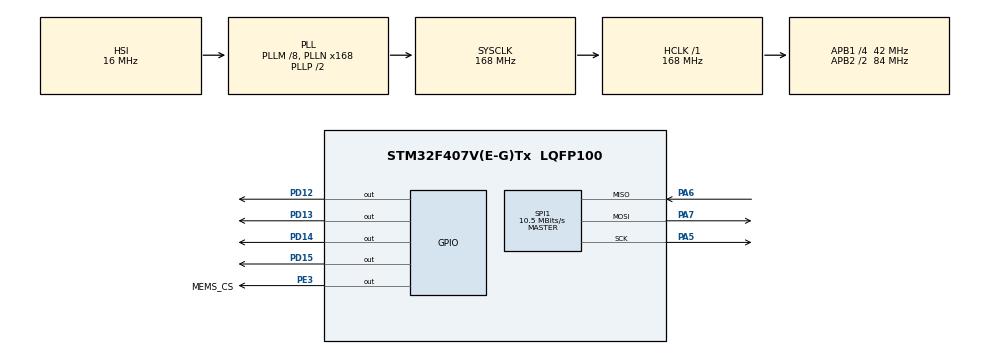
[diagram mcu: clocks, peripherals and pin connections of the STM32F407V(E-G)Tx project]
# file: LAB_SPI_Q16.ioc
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Dma.Request0=SPI1_RX
Dma.Request1=SPI1_TX
Dma.SPI1_RX.0.Direction=DMA_PERIPH_TO_MEMORY
Dma.SPI1_RX.0.FIFOMode=DMA_FIFOMODE_DISABLE
Dma.SPI1_RX.0.Instance=DMA2_Stream0
Dma.SPI1_RX.0.MemDataAlignment=DMA_MDATAALIGN_BYTE
Dma.SPI1_RX.0.MemInc=DMA_MINC_ENABLE
Dma.SPI1_RX.0.Mode=DMA_NORMAL
Dma.SPI1_RX.0.PeriphDataAlignment=DMA_PDATAALIGN_BYTE
Dma.SPI1_RX.0.PeriphInc=DMA_PINC_DISABLE
Dma.SPI1_RX.0.Priority=DMA_PRIORITY_LOW
Dma.SPI1_TX.1.Direction=DMA_MEMORY_TO_PERIPH
Dma.SPI1_TX.1.FIFOMode=DMA_FIFOMODE_DISABLE
Dma.SPI1_TX.1.Instance=DMA2_Stream3
Dma.SPI1_TX.1.MemDataAlignment=DMA_MDATAALIGN_BYTE
Dma.SPI1_TX.1.MemInc=DMA_MINC_ENABLE
Dma.SPI1_TX.1.Mode=DMA_NORMAL
Dma.SPI1_TX.1.PeriphDataAlignment=DMA_PDATAALIGN_BYTE
Dma.SPI1_TX.1.PeriphInc=DMA_PINC_DISABLE
Dma.SPI1_TX.1.Priority=DMA_PRIORITY_LOW
Mcu.Family=STM32F4
Mcu.Name=STM32F407V(E-G)Tx
Mcu.Package=LQFP100
NVIC.DMA2_Stream0_IRQn=true\:0\:0\:false\:false\:true\:false\:true\:true
NVIC.DMA2_Stream3_IRQn=true\:0\:0\:false\:false\:true\:false\:true\:true
NVIC.PriorityGroup=NVIC_PRIORITYGROUP_4
NVIC.SPI1_IRQn=true\:0\:0\:false\:false\:true\:true\:true\:true
PA5.Mode=Full_Duplex_Master
PA5.Signal=SPI1_SCK
PA6.Mode=Full_Duplex_Master
PA6.Signal=SPI1_MISO
PA7.Mode=Full_Duplex_Master
PA7.Signal=SPI1_MOSI
PD12.Signal=GPIO_Output
PD13.Signal=GPIO_Output
PD14.Signal=GPIO_Output
PD15.Signal=GPIO_Output
PE3.GPIO_Label=MEMS_CS
PE3.GPIO_Speed=GPIO_SPEED_FREQ_HIGH
PE3.PinState=GPIO_PIN_SET
PE3.Signal=GPIO_Output
PH0-OSC_IN.Mode=HSE-External-Oscillator
PH0-OSC_IN.Signal=RCC_OSC_IN
PH1-OSC_OUT.Mode=HSE-External-Oscillator
PH1-OSC_OUT.Signal=RCC_OSC_OUT
ProjectManager.HeapSize=0x200
ProjectManager.StackSize=0x400
ProjectManager.TargetToolchain=STM32CubeIDE
RCC.48MHZClocksFreq_Value=84000000
RCC.AHBFreq_Value=168000000
RCC.APB1CLKDivider=RCC_HCLK_DIV4
RCC.APB1Freq_Value=42000000
RCC.APB1TimFreq_Value=84000000
RCC.APB2CLKDivider=RCC_HCLK_DIV2
RCC.APB2Freq_Value=84000000
RCC.APB2TimFreq_Value=168000000
RCC.CortexFreq_Value=168000000
RCC.HCLKFreq_Value=168000000
RCC.HSE_VALUE=8000000
RCC.HSI_VALUE=16000000
RCC.LSE_VALUE=32768
RCC.PLLM=8
RCC.PLLN=168
RCC.SYSCLKFreq_VALUE=168000000
RCC.SYSCLKSource=RCC_SYSCLKSOURCE_PLLCLK
RCC.VCOOutputFreq_Value=336000000
SPI1.BaudRatePrescaler=SPI_BAUDRATEPRESCALER_8
SPI1.CLKPhase=SPI_PHASE_1EDGE
SPI1.CLKPolarity=SPI_POLARITY_LOW
SPI1.CRCCalculation=SPI_CRCCALCULATION_DISABLE
SPI1.CalculateBaudRate=10.5 MBits/s
SPI1.Direction=SPI_DIRECTION_2LINES
SPI1.Mode=SPI_MODE_MASTER
SPI1.VirtualType=VM_MASTER
board=custom

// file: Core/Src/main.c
/* USER CODE BEGIN Header */
/**
  ******************************************************************************
  * @file           : main.c
  * @brief          : Main program body
  ******************************************************************************
  * @attention
  *
  * Copyright (c) 2026 STMicroelectronics.
  * All rights reserved.
  *
  * This software is licensed under terms that can be found in the LICENSE file
  * in the root directory of this software component.
  * If no LICENSE file comes with this software, it is provided AS-IS.
  *
  ******************************************************************************
  */
/* USER CODE END Header */
#include "main.h"

SPI_HandleTypeDef hspi1;
DMA_HandleTypeDef hdma_spi1_rx;
DMA_HandleTypeDef hdma_spi1_tx;

/* USER CODE BEGIN PV */
uint8_t ReadFlag=0x80;
uint8_t Return[6];
int16_t Rx_x,Rx_y,Rx_z;
uint8_t TxBuf[2];
/* USER CODE END PV */

void SystemClock_Config(void);
static void MX_GPIO_Init(void);
static void MX_DMA_Init(void);
static void MX_SPI1_Init(void);

int main(void)
{

  /* MCU Configuration--------------------------------------------------------*/

  /* Reset of all peripherals, Initializes the Flash interface and the Systick. */
  HAL_Init();

  /* Configure the system clock */
  SystemClock_Config();

  /* Initialize all configured peripherals */
  MX_GPIO_Init();
  MX_DMA_Init();
  MX_SPI1_Init();
  /* USER CODE BEGIN 2 */
  //WHO_AM_I Address 0x0f
  HAL_GPIO_WritePin(GPIOE, GPIO_PIN_3, RESET);//CS Pin Low (start data receive on slave)
  TxBuf[0] = 0x0f|ReadFlag;//Read Address of Register
  HAL_SPI_Transmit(&hspi1, TxBuf, 1, 50); // transmit the buffer we created
  HAL_SPI_Receive(&hspi1, Return, 1, 50); // store the value we got in the receive array
  HAL_GPIO_WritePin(GPIOE, GPIO_PIN_3, SET);//CS Pin High (stop data receive on slave)

  //CTRL_REG6 with Address 0x25
     HAL_GPIO_WritePin(GPIOE, GPIO_PIN_3, RESET);//CS Pin Low (start data receive on slave)
     TxBuf[0]=0x25;//Address of Register
     TxBuf[1]=0x11;//Enable Automatic register increment so that we can read high and low both values of each axis by accessing the first one
     HAL_SPI_Transmit(&hspi1, TxBuf, 2, 50); // transmit the buffer we created
     HAL_GPIO_WritePin(GPIOE, GPIO_PIN_3, SET);//CS Pin High (stop data receive on slave)

  //CTRL_REG4 with Address 0x20
   HAL_GPIO_WritePin(GPIOE, GPIO_PIN_3, RESET);//CS Pin Low (start data receive on slave)
   TxBuf[0]=0x20;//Address of Register
   TxBuf[1]=0x37;// 12.5Hz + enable all axis
   HAL_SPI_Transmit(&hspi1, TxBuf, 2, 50); // transmit the buffer we created
   HAL_GPIO_WritePin(GPIOE, GPIO_PIN_3, SET);//CS Pin High (stop data receive on slave)

//  //Configure Control Register 3 with Address 0x20
//  HAL_GPIO_WritePin(GPIOE, GPIO_PIN_3, RESET);//CS Pin Low
//  TxBuf[0]=0x23;//Address of Register
//  TxBuf[1]=0xC8;//Data for Register
//  HAL_SPI_Transmit(&hspi1, TxBuf, 2, 50);
//  HAL_GPIO_WritePin(GPIOE, GPIO_PIN_3, SET);//CS Pin High

  /* USER CODE END 2 */

  /* Infinite loop */
  /* USER CODE BEGIN WHILE */
  while (1)
  {

	  HAL_GPIO_WritePin(GPIOE, GPIO_PIN_3, RESET);
	  // Start reading from OUT_X_L (0x28). 0x80 is the Read bit.
	  TxBuf[0] = 0x28 | 0x80;
	  HAL_SPI_Transmit(&hspi1, TxBuf, 1, 50);
	  // Read 6 bytes: XL, XH, YL, YH, ZL, ZH
	  HAL_SPI_Receive(&hspi1, Return, 6, 50);
	  HAL_GPIO_WritePin(GPIOE, GPIO_PIN_3, SET);

	  // Combine High and Low bytes (16-bit signed)
	  Rx_x = (int16_t)((Return[1] << 8) | Return[0]);
	  Rx_y = (int16_t)((Return[3] << 8) | Return[2]);
	  Rx_z = (int16_t)((Return[5] << 8) | Return[4]);

	  HAL_Delay(100);
    /* USER CODE END WHILE */

  }
}

void SystemClock_Config(void)
{
  RCC_OscInitTypeDef RCC_OscInitStruct = {0};
  RCC_ClkInitTypeDef RCC_ClkInitStruct = {0};

  /** Configure the main internal regulator output voltage
  */
  __HAL_RCC_PWR_CLK_ENABLE();
  __HAL_PWR_VOLTAGESCALING_CONFIG(PWR_REGULATOR_VOLTAGE_SCALE1);

  /** Initializes the RCC Oscillators according to the specified parameters
  * in the RCC_OscInitTypeDef structure.
  */
  RCC_OscInitStruct.OscillatorType = RCC_OSCILLATORTYPE_HSI;
  RCC_OscInitStruct.HSIState = RCC_HSI_ON;
  RCC_OscInitStruct.HSICalibrationValue = RCC_HSICALIBRATION_DEFAULT;
  RCC_OscInitStruct.PLL.PLLState = RCC_PLL_ON;
  RCC_OscInitStruct.PLL.PLLSource = RCC_PLLSOURCE_HSI;
  RCC_OscInitStruct.PLL.PLLM = 8;
  RCC_OscInitStruct.PLL.PLLN = 168;
  RCC_OscInitStruct.PLL.PLLP = RCC_PLLP_DIV2;
  RCC_OscInitStruct.PLL.PLLQ = 4;
  if (HAL_RCC_OscConfig(&RCC_OscInitStruct) != HAL_OK)
  {
    Error_Handler();
  }

  /** Initializes the CPU, AHB and APB buses clocks
  */
  RCC_ClkInitStruct.ClockType = RCC_CLOCKTYPE_HCLK|RCC_CLOCKTYPE_SYSCLK
                              |RCC_CLOCKTYPE_PCLK1|RCC_CLOCKTYPE_PCLK2;
  RCC_ClkInitStruct.SYSCLKSource = RCC_SYSCLKSOURCE_PLLCLK;
  RCC_ClkInitStruct.AHBCLKDivider = RCC_SYSCLK_DIV1;
  RCC_ClkInitStruct.APB1CLKDivider = RCC_HCLK_DIV4;
  RCC_ClkInitStruct.APB2CLKDivider = RCC_HCLK_DIV2;

  if (HAL_RCC_ClockConfig(&RCC_ClkInitStruct, FLASH_LATENCY_5) != HAL_OK)
  {
    Error_Handler();
  }
}

static void MX_SPI1_Init(void)
{

  /* SPI1 parameter configuration*/
  hspi1.Instance = SPI1;
  hspi1.Init.Mode = SPI_MODE_MASTER;
  hspi1.Init.Direction = SPI_DIRECTION_2LINES;
  hspi1.Init.DataSize = SPI_DATASIZE_8BIT;
  hspi1.Init.CLKPolarity = SPI_POLARITY_LOW;
  hspi1.Init.CLKPhase = SPI_PHASE_1EDGE;
  hspi1.Init.NSS = SPI_NSS_SOFT;
  hspi1.Init.BaudRatePrescaler = SPI_BAUDRATEPRESCALER_8;
  hspi1.Init.FirstBit = SPI_FIRSTBIT_MSB;
  hspi1.Init.TIMode = SPI_TIMODE_DISABLE;
  hspi1.Init.CRCCalculation = SPI_CRCCALCULATION_DISABLE;
  hspi1.Init.CRCPolynomial = 10;
  if (HAL_SPI_Init(&hspi1) != HAL_OK)
  {
    Error_Handler();
  }

}

static void MX_DMA_Init(void)
{

  /* DMA controller clock enable */
  __HAL_RCC_DMA2_CLK_ENABLE();

  /* DMA interrupt init */
  /* DMA2_Stream0_IRQn interrupt configuration */
  HAL_NVIC_SetPriority(DMA2_Stream0_IRQn, 0, 0);
  HAL_NVIC_EnableIRQ(DMA2_Stream0_IRQn);
  /* DMA2_Stream3_IRQn interrupt configuration */
  HAL_NVIC_SetPriority(DMA2_Stream3_IRQn, 0, 0);
  HAL_NVIC_EnableIRQ(DMA2_Stream3_IRQn);

}

static void MX_GPIO_Init(void)
{
  GPIO_InitTypeDef GPIO_InitStruct = {0};

  /* GPIO Ports Clock Enable */
  __HAL_RCC_GPIOE_CLK_ENABLE();
  __HAL_RCC_GPIOH_CLK_ENABLE();
  __HAL_RCC_GPIOA_CLK_ENABLE();
  __HAL_RCC_GPIOD_CLK_ENABLE();

  /*Configure GPIO pin Output Level */
  HAL_GPIO_WritePin(MEMS_CS_GPIO_Port, MEMS_CS_Pin, GPIO_PIN_SET);

  /*Configure GPIO pin Output Level */
  HAL_GPIO_WritePin(GPIOD, GPIO_PIN_12|GPIO_PIN_13|GPIO_PIN_14|GPIO_PIN_15, GPIO_PIN_RESET);

  /*Configure GPIO pin : MEMS_CS_Pin */
  GPIO_InitStruct.Pin = MEMS_CS_Pin;
  GPIO_InitStruct.Mode = GPIO_MODE_OUTPUT_PP;
  GPIO_InitStruct.Pull = GPIO_NOPULL;
  GPIO_InitStruct.Speed = GPIO_SPEED_FREQ_HIGH;
  HAL_GPIO_Init(MEMS_CS_GPIO_Port, &GPIO_InitStruct);

  /*Configure GPIO pins : PD12 PD13 PD14 PD15 */
  GPIO_InitStruct.Pin = GPIO_PIN_12|GPIO_PIN_13|GPIO_PIN_14|GPIO_PIN_15;
  GPIO_InitStruct.Mode = GPIO_MODE_OUTPUT_PP;
  GPIO_InitStruct.Pull = GPIO_NOPULL;
  GPIO_InitStruct.Speed = GPIO_SPEED_FREQ_LOW;
  HAL_GPIO_Init(GPIOD, &GPIO_InitStruct);

}

void Error_Handler(void)
{
  __disable_irq();
  while (1)
  {
  }
}
